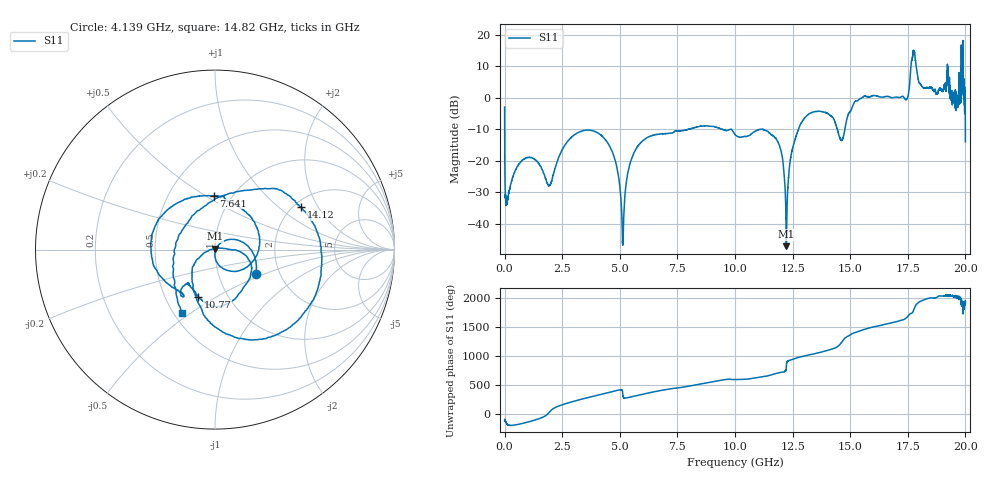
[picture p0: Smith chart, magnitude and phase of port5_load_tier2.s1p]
! Created with skrf 1.8.0 (http://scikit-rf.org).
# GHz S RI R 50.0
!freq ReS11 ImS11
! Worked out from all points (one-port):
!   10001 points, 1 MHz to 20 GHz, reference 50 ohm
!   lowest |S11| = -47.0 dB at 12.23 GHz (marker M1), VSWR 1.01, Z = 50 + j0.444 ohm
!   |S11| at or under -10 dB: 2.7 MHz to 7.936 GHz (7.934 GHz wide, 200 % of centre); 9.844 GHz to 11.04 GHz (1.198 GHz wide, 11.5 % of centre); 11.22 GHz to 12.75 GHz (1.537 GHz wide, 12.8 % of centre) (the widest 3 of 13)
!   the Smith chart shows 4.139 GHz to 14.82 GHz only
!   S11 on the Smith chart (normalised r, x): 4.139 GHz: 1.51, -0.44; 7.641 GHz: 0.82, +0.54; 10.77 GHz: 0.73, -0.41; 14.12 GHz: 2.19, +1.44; 14.82 GHz: 0.55, -0.46
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0.001  -0.4057 -0.5886
0.1269937  -0.0251 0.00424
2.500875  -0.1349 0.0668
4.138793  0.2274 -0.1348
5.00075  0.0255 0.031
7.500625  0.0337 0.2976
7.640618  -0.00778 0.3003
10.0005  -0.1711 -0.2002
10.77046  -0.0933 -0.2617
11.84441  0.1947 -0.0669
12.22839  0.000401 0.00443
12.50038  -0.1253 -0.0996
14.12029  0.4789 0.236
14.81826  -0.1858 -0.3537
15.00025  0.1251 -0.5981
15.59022  1.012 0.2962
16.44418  -0.1769 1.021
17.22814  -1.037 0.0386
17.50013  -0.4885 -0.9225
17.65012  1.485 -3.293
17.73611  4.752 -2.66
17.86811  0.0856 3.178
17.9481  -0.8743 1.802
18.0881  -1.384 0.7492
19.20604  -0.9663 -1.908
19.74201  -0.8149 -0.2034
19.89601  4.593 2.568
20  -0.1726 0.1031
